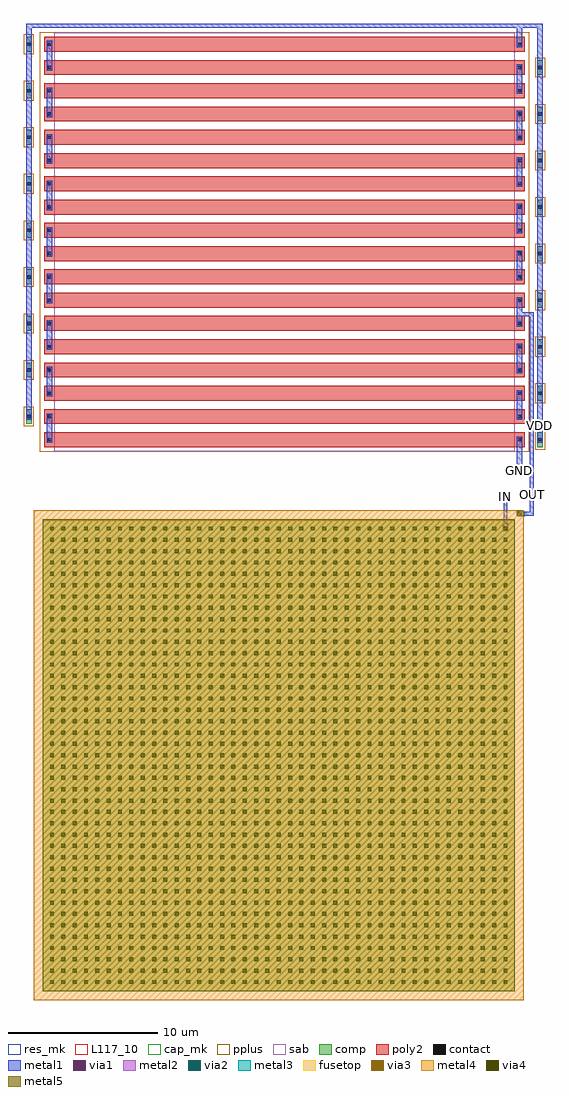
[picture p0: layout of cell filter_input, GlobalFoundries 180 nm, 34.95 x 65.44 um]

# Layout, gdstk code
from math import pi, radians
import gdstk
lib = gdstk.Library(unit=1e-6, precision=5e-09)
def R(c, l, rs):  # rectangles x0, y0, x1, y1
    for r in rs: c.add(gdstk.rectangle(r[:2], r[2:], *l))
def A(c, l, x, y, w, h, nx, ny, dx, dy):  # array of equal rectangles
    R(c, l, [(x+i*dx, y+j*dy, x+i*dx+w, y+j*dy+h) for i in range(nx) for j in range(ny)])
def P(c, l, *ps):  # polygons
    for p in ps: c.add(gdstk.Polygon(p, *l))
comp = (22, 0)
poly2 = (30, 0)
pplus = (31, 0)
contact = (33, 0)
metal1 = (34, 0)
via1 = (35, 0)
metal2 = (36, 0)
via2 = (38, 0)
via3 = (40, 0)
via4 = (41, 0)
metal3 = (42, 0)
metal4 = (46, 0)
sab = (49, 0)
fusetop = (75, 0)
metal5 = (81, 0)
res_mk = (110, 5)
cap_mk = (117, 5)
L117_10 = (117, 10)

ppolyf_u_resistor = lib.new_cell('ppolyf_u_resistor')
R(ppolyf_u_resistor, comp, [(-1.88,0,-1.52,1)])
R(ppolyf_u_resistor, poly2, [(-0.66,0,31.53,1)])
R(ppolyf_u_resistor, pplus, [(-0.96,-0.3,31.83,1.3), (-2.04,-0.16,-1.36,1.16)])
R(ppolyf_u_resistor, contact, [(-1.81,0.39,-1.59,0.61), (-0.44,0.39,-0.22,0.61), (31.09,0.39,31.31,0.61)])
R(ppolyf_u_resistor, metal1, [(-1.89,0.31,-1.51,0.69), (-0.52,0.31,-0.14,0.69), (31.01,0.31,31.39,0.69)])
R(ppolyf_u_resistor, sab, [(0,-0.28,30.87,1.28)])
R(ppolyf_u_resistor, res_mk, [(0,0,30.87,1)])

cap_mim = lib.new_cell('cap_mim')
A(cap_mim, via4, 0.48, 0.48, 0.26, 0.26, 41, 41, 0.76, 0.76)
R(cap_mim, metal4, [(-0.6,-0.6,32.22,32.22)])
R(cap_mim, fusetop, [(0,0,31.62,31.62)])
R(cap_mim, metal5, [(0,0,31.62,31.62)])
R(cap_mim, cap_mk, [(-0.6,-0.6,32.22,32.22)])
R(cap_mim, L117_10, [(0,0,31.62,0.1)])
cap_mim.add(gdstk.Label('top', (15.81,15.81), layer=81, texttype=10))
cap_mim.add(gdstk.Label('bot', (15.81,-0.3), layer=46, texttype=10))

ppolyf_u_resistor_4 = lib.new_cell('ppolyf_u_resistor$4')
R(ppolyf_u_resistor_4, comp, [(-1.88,0,-1.52,1)])
R(ppolyf_u_resistor_4, poly2, [(-0.66,0,31.53,1)])
R(ppolyf_u_resistor_4, pplus, [(-0.96,-0.3,31.83,1.3), (-2.04,-0.16,-1.36,1.16)])
R(ppolyf_u_resistor_4, contact, [(-1.81,0.39,-1.59,0.61), (-0.44,0.39,-0.22,0.61), (31.09,0.39,31.31,0.61)])
R(ppolyf_u_resistor_4, metal1, [(-1.89,0.31,-1.51,0.69), (-0.52,0.31,-0.14,0.69), (31.01,0.31,31.39,0.69)])
R(ppolyf_u_resistor_4, sab, [(0,-0.28,30.87,1.28)])
R(ppolyf_u_resistor_4, res_mk, [(0,0,30.87,1)])
ppolyf_u_resistor_4.add(gdstk.Label('0', (-0.33,0.5), layer=34, texttype=10))
ppolyf_u_resistor_4.add(gdstk.Label('1', (31.2,0.5), layer=34, texttype=10))

ppolyf_u_resistor_2 = lib.new_cell('ppolyf_u_resistor$2')
R(ppolyf_u_resistor_2, comp, [(-1.88,0,-1.52,1)])
R(ppolyf_u_resistor_2, poly2, [(-0.66,0,31.53,1)])
R(ppolyf_u_resistor_2, pplus, [(-0.96,-0.3,31.83,1.3), (-2.04,-0.16,-1.36,1.16)])
R(ppolyf_u_resistor_2, contact, [(-1.81,0.39,-1.59,0.61), (-0.44,0.39,-0.22,0.61), (31.09,0.39,31.31,0.61)])
R(ppolyf_u_resistor_2, metal1, [(-1.89,0.31,-1.51,0.69), (-0.52,0.31,-0.14,0.69), (31.01,0.31,31.39,0.69)])
R(ppolyf_u_resistor_2, sab, [(0,-0.28,30.87,1.28)])
R(ppolyf_u_resistor_2, res_mk, [(0,0,30.87,1)])

filter_input = lib.new_cell('filter_input')
A(filter_input, metal1, 1.22, 41.22, 0.38, 1.18, 1, 7, 0, 3.12)
A(filter_input, metal1, 32.75, 52.14, 0.38, 1.18, 1, 3, 0, 3.12)
R(filter_input, metal1, [(31.86,31.77,32.12,31.83), (31.86,31.83,32.12,32.09), (32.75,32.82,32.81,33.08), (32.81,32.82,32.84,33.08), (32.75,35.565,33.13,37.72), (34.12,37.705,34.5,37.72), (1.22,37.71,1.6,37.72), (1.22,38.05,1.6,39.305), (34.12,38.075,34.24,53.32), (32.75,38.1,33.13,38.12), (-0.15,39.245,0.23,39.28), (32.75,39.255,33.13,39.28), (-0.15,39.28,0.23,63.395), (32.75,39.565,33.13,40.865), (1.22,39.66,1.6,39.67), (1.22,40.825,1.6,40.84), (32.75,41.22,33.13,41.235), (32.75,42.385,33.13,42.4), (32.75,42.725,33.13,43.96), (1.22,42.78,1.6,42.795), (1.22,43.945,1.6,43.96), (32.75,44.34,33.13,44.355), (32.75,45.5,33.13,45.52), (32.75,45.82,33.13,47.12), (1.22,45.9,1.6,45.915), (1.22,47.065,1.6,47.08), (32.75,47.46,33.13,47.48), (32.75,48.62,33.13,48.64), (32.75,48.915,33.13,50.2), (1.22,49.02,1.6,49.03), (1.22,50.18,1.6,50.2), (32.75,50.58,33.13,50.595), (32.75,51.74,33.13,51.76), (1.22,52.14,1.6,52.16), (1.22,53.305,1.6,53.32), (32.75,53.7,33.13,53.72), (34.12,53.7,34.24,56.44), (32.75,54.865,33.13,54.88), (1.22,55.26,1.6,55.275), (1.22,56.425,1.6,56.44), (32.75,56.82,33.13,56.845), (34.12,56.82,34.24,59.56), (32.75,57.98,33.13,58), (33.02,58.18,33.07,58.44), (1.22,58.38,1.6,58.4), (1.22,59.545,1.6,59.56), (32.75,59.94,33.13,59.965), (34.12,59.94,34.5,62.63), (32.75,61.11,33.13,61.12), (32.75,61.12,33.13,63.06), (1.22,61.5,1.6,61.515), (34.12,62.63,34.5,65.785), (1.22,62.645,1.6,62.68), (1.22,62.68,1.6,64.655), (32.75,63.06,33.13,63.075), (-0.15,63.395,0.23,65.785), (32.75,64.22,33.13,64.24), (32.75,64.24,33.13,65.655)])
P(filter_input, metal1, [(34.12,59.56),(34.12,59.56),(34.24,59.56),(34.24,59.56)],
  [(34.12,59.56),(34.12,59.56),(34.24,59.56),(34.24,59.56)],
  [(32.75,51.76),(32.75,51.76),(33.13,51.76),(33.13,51.76)],
  [(7.845,63.03),(7.845,63.03),(7.845,63.03),(7.845,63.03)],
  [(32.75,64.24),(32.75,64.24),(33.13,64.24),(33.13,64.24)])
R(filter_input, via1, [(31.86,31.83,32.12,32.09), (32.81,32.82,33.07,33.08)])
P(filter_input, via1, [(32.895,33.06),(32.895,33.06),(32.895,33.06),(32.895,33.06)])
R(filter_input, metal2, [(31.82,31.77,32.16,32.305), (32.75,32.78,33.285,32.82), (32.75,32.82,33.285,33.08), (32.75,33.08,33.285,33.12)])
R(filter_input, via2, [(32.81,32.82,33.07,33.08)])
R(filter_input, via3, [(32.81,32.82,33.07,33.08)])
R(filter_input, metal3, [(32.75,32.78,33.285,33.12)])
filter_input.add(gdstk.FlexPath([(34.37,64.465),(34.37,65.655),(0.1,65.655),(0.1,65.625),(0.1,65.625)], 0.26, ends="flush", simple_path=True, layer=34, datatype=0))  # metal1
filter_input.add(gdstk.FlexPath([(1.41,39.355),(1.41,37.905)], 0.26, ends="flush", simple_path=True, layer=34, datatype=0))  # metal1
filter_input.add(gdstk.FlexPath([(1.41,42.4),(1.41,41.14)], 0.26, ends="flush", simple_path=True, layer=34, datatype=0))  # metal1
filter_input.add(gdstk.FlexPath([(1.41,45.52),(1.41,44.15)], 0.26, ends="flush", simple_path=True, layer=34, datatype=0))  # metal1
filter_input.add(gdstk.FlexPath([(1.41,48.64),(1.41,47.27)], 0.26, ends="flush", simple_path=True, layer=34, datatype=0))  # metal1
filter_input.add(gdstk.FlexPath([(1.41,51.76),(1.41,50.5)], 0.26, ends="flush", simple_path=True, layer=34, datatype=0))  # metal1
filter_input.add(gdstk.FlexPath([(1.41,54.88),(1.41,53.62)], 0.26, ends="flush", simple_path=True, layer=34, datatype=0))  # metal1
filter_input.add(gdstk.FlexPath([(1.41,58),(1.41,56.63),(1.41,56.63)], 0.26, ends="flush", simple_path=True, layer=34, datatype=0))  # metal1
filter_input.add(gdstk.FlexPath([(1.41,61.12),(1.41,59.86),(1.41,59.86)], 0.26, ends="flush", simple_path=True, layer=34, datatype=0))  # metal1
filter_input.add(gdstk.FlexPath([(31.99,32.09),(31.99,34.26)], 0.26, ends="flush", simple_path=True, layer=34, datatype=0))  # metal1
filter_input.add(gdstk.FlexPath([(34.37,59.945),(34.37,37.725)], 0.26, ends="flush", simple_path=True, layer=34, datatype=0))  # metal1
filter_input.add(gdstk.FlexPath([(32.94,59.57),(32.94,58.31),(33.05,58.31)], 0.26, ends="flush", simple_path=True, layer=34, datatype=0))  # metal1
filter_input.add(gdstk.FlexPath([(32.94,56.44),(32.94,55.07),(32.94,55.07)], 0.26, ends="flush", simple_path=True, layer=34, datatype=0))  # metal1
filter_input.add(gdstk.FlexPath([(32.94,53.32),(32.94,51.95)], 0.26, ends="flush", simple_path=True, layer=34, datatype=0))  # metal1
filter_input.add(gdstk.FlexPath([(32.94,50.2),(32.94,48.72)], 0.26, ends="flush", simple_path=True, layer=34, datatype=0))  # metal1
filter_input.add(gdstk.FlexPath([(32.94,47.16),(32.94,45.71)], 0.26, ends="flush", simple_path=True, layer=34, datatype=0))  # metal1
filter_input.add(gdstk.FlexPath([(33.04,46.33),(33.75,46.33),(33.75,34.35),(33.75,34.35)], 0.26, ends="flush", simple_path=True, layer=34, datatype=0))  # metal1
filter_input.add(gdstk.FlexPath([(32.94,43.96),(32.94,42.59)], 0.26, ends="flush", simple_path=True, layer=34, datatype=0))  # metal1
filter_input.add(gdstk.FlexPath([(32.94,40.92),(32.94,39.47)], 0.26, ends="flush", simple_path=True, layer=34, datatype=0))  # metal1
filter_input.add(gdstk.FlexPath([(32.94,37.72),(32.94,35.57)], 0.26, ends="flush", simple_path=True, layer=34, datatype=0))  # metal1
filter_input.add(gdstk.FlexPath([(33.75,34.35),(33.75,32.95),(32.84,32.95),(32.84,32.95)], 0.26, ends="flush", simple_path=True, layer=34, datatype=0))  # metal1
filter_input.add(gdstk.Reference(ppolyf_u_resistor, (32.61,44.65), rotation=pi))
filter_input.add(gdstk.Reference(cap_mim, (32.6,32.57), rotation=pi))
filter_input.add(gdstk.Reference(ppolyf_u_resistor, (1.74,42.09)))
filter_input.add(gdstk.Reference(ppolyf_u_resistor, (1.74,51.45)))
filter_input.add(gdstk.Reference(ppolyf_u_resistor, (32.61,54.01), rotation=pi))
filter_input.add(gdstk.Reference(ppolyf_u_resistor, (32.61,57.13), rotation=pi))
filter_input.add(gdstk.Reference(ppolyf_u_resistor, (1.74,48.33)))
filter_input.add(gdstk.Reference(ppolyf_u_resistor, (32.61,47.77), rotation=pi))
filter_input.add(gdstk.Reference(ppolyf_u_resistor, (1.74,45.21)))
filter_input.add(gdstk.Reference(ppolyf_u_resistor_4, (1.74,38.97)))
filter_input.add(gdstk.Reference(ppolyf_u_resistor, (1.74,54.57)))
filter_input.add(gdstk.Reference(ppolyf_u_resistor, (1.74,57.69)))
filter_input.add(gdstk.Reference(ppolyf_u_resistor, (32.61,50.89), rotation=pi))
filter_input.add(gdstk.Reference(ppolyf_u_resistor, (32.61,60.25), rotation=pi))
filter_input.add(gdstk.Reference(ppolyf_u_resistor_4, (32.61,38.41), rotation=pi))
filter_input.add(gdstk.Reference(ppolyf_u_resistor, (32.61,41.53), rotation=pi))
filter_input.add(gdstk.Reference(ppolyf_u_resistor, (1.74,60.81)))
r = gdstk.Reference(ppolyf_u_resistor_2, (32.61,63.37), rotation=pi); r.repetition = gdstk.Repetition(1, 1, v1=(0,0), v2=(0,0)); filter_input.add(r)
r = gdstk.Reference(ppolyf_u_resistor_2, (1.74,63.93)); r.repetition = gdstk.Repetition(1, 1, v1=(0,0), v2=(0,0)); filter_input.add(r)
filter_input.add(gdstk.Label('OUT', (33.815,34.225), layer=34, texttype=10))
filter_input.add(gdstk.Label('IN', (31.99,34.075), layer=34, texttype=10))
filter_input.add(gdstk.Label('GND', (32.94,35.84), layer=34, texttype=10))
filter_input.add(gdstk.Label('VDD', (34.24,38.875), layer=34, texttype=10))

lib.write_gds('filter_input.gds')
